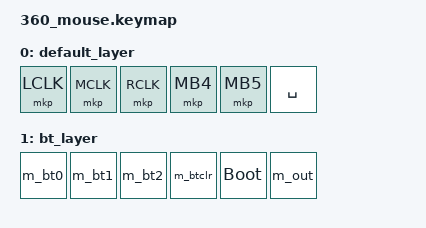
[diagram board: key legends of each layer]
#include <behaviors.dtsi>
#include <dt-bindings/zmk/keys.h>
#include <dt-bindings/zmk/mouse.h>
#include <dt-bindings/zmk/bt.h>
#include <dt-bindings/zmk/outputs.h>

/ {
    behaviors {
        bt_enter: bt_enter {
            compatible = "zmk,behavior-hold-tap";
            #binding-cells = <2>;
            flavor = "tap-preferred";
            tapping-term-ms = <1000>;
            bindings = <&to>, <&to>;
        };
    };

    macros {
        m_bt0: m_bt0 {
            compatible = "zmk,behavior-macro";
            #binding-cells = <0>;
            bindings = <&bt BT_SEL 0>, <&to 0>;
        };
        m_bt1: m_bt1 {
            compatible = "zmk,behavior-macro";
            #binding-cells = <0>;
            bindings = <&bt BT_SEL 1>, <&to 0>;
        };
        m_bt2: m_bt2 {
            compatible = "zmk,behavior-macro";
            #binding-cells = <0>;
            bindings = <&bt BT_SEL 2>, <&to 0>;
        };
        m_btclr: m_btclr {
            compatible = "zmk,behavior-macro";
            #binding-cells = <0>;
            bindings = <&bt BT_CLR>, <&to 0>;
        };
        m_out: m_out {
            compatible = "zmk,behavior-macro";
            #binding-cells = <0>;
            bindings = <&out OUT_TOG>, <&to 0>;
        };
    };

    combos {
        compatible = "zmk,combos";

        combo_bt_layer {
            timeout-ms = <300>;
            key-positions = <3 5>;      /* MB4 + space */
            bindings = <&bt_enter 1 0>;
            layers = <0>;
        };
    };

    keymap {
        compatible = "zmk,keymap";

        default_layer {
            bindings = <&mkp LCLK &mkp MCLK &mkp RCLK &mkp MB4 &mkp MB5 &kp SPACE>;
        };

        bt_layer {
            bindings = <&m_bt0 &m_bt1 &m_bt2 &m_btclr &bootloader &m_out>;
        };
    };
};
